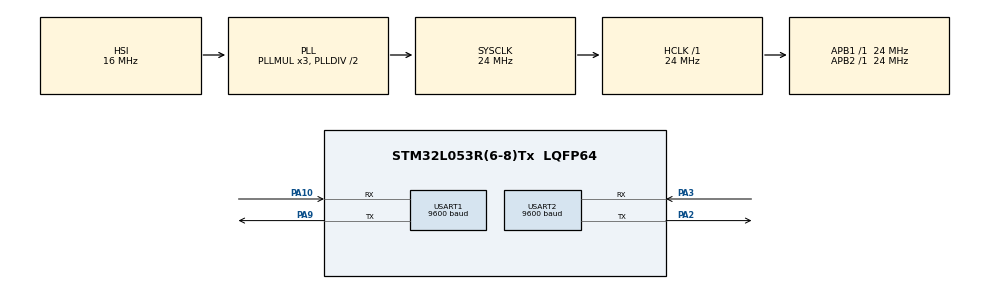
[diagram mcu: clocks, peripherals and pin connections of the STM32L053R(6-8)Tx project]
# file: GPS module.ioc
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Dma.Request0=USART1_RX
Dma.USART1_RX.0.Direction=DMA_PERIPH_TO_MEMORY
Dma.USART1_RX.0.Instance=DMA1_Channel3
Dma.USART1_RX.0.MemDataAlignment=DMA_MDATAALIGN_BYTE
Dma.USART1_RX.0.MemInc=DMA_MINC_ENABLE
Dma.USART1_RX.0.Mode=DMA_CIRCULAR
Dma.USART1_RX.0.PeriphDataAlignment=DMA_PDATAALIGN_BYTE
Dma.USART1_RX.0.PeriphInc=DMA_PINC_DISABLE
Dma.USART1_RX.0.Priority=DMA_PRIORITY_LOW
Mcu.Family=STM32L0
Mcu.Name=STM32L053R(6-8)Tx
Mcu.Package=LQFP64
NVIC.DMA1_Channel2_3_IRQn=true\:0\:0\:false\:false\:true\:false\:true\:true
PA10.Mode=Asynchronous
PA10.Signal=USART1_RX
PA13.Mode=Serial_Wire
PA13.Signal=SYS_SWDIO
PA14.Mode=Serial_Wire
PA14.Signal=SYS_SWCLK
PA2.Mode=Asynchronous
PA2.Signal=USART2_TX
PA3.Mode=Asynchronous
PA3.Signal=USART2_RX
PA9.Mode=Asynchronous
PA9.Signal=USART1_TX
PH0-OSC_IN.Mode=HSE-External-Oscillator
PH0-OSC_IN.Signal=RCC_OSC_IN
PH1-OSC_OUT.Mode=HSE-External-Oscillator
PH1-OSC_OUT.Signal=RCC_OSC_OUT
ProjectManager.HeapSize=0x200
ProjectManager.StackSize=0x400
ProjectManager.TargetToolchain=MDK-ARM V5.32
RCC.AHBFreq_Value=24000000
RCC.APB1Freq_Value=24000000
RCC.APB1TimFreq_Value=24000000
RCC.APB2Freq_Value=24000000
RCC.APB2TimFreq_Value=24000000
RCC.HCLKFreq_Value=24000000
RCC.HSE_VALUE=8000000
RCC.HSI16_VALUE=16000000
RCC.HSI48_VALUE=48000000
RCC.HSI_VALUE=16000000
RCC.LSE_VALUE=32768
RCC.MSI_VALUE=2097000
RCC.SYSCLKFreq_VALUE=24000000
RCC.SYSCLKSource=RCC_SYSCLKSOURCE_PLLCLK
RCC.VCOOutputFreq_Value=48000000
USART1.BaudRate=9600
USART1.VirtualMode-Asynchronous=VM_ASYNC
USART2.BaudRate=9600
USART2.VirtualMode-Asynchronous=VM_ASYNC
board=custom

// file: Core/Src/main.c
/* USER CODE BEGIN Header */
/**
  ******************************************************************************
  * @file           : main.c
  * @brief          : Main program body
  ******************************************************************************
  * @attention
  *
  * Copyright (c) 2022 STMicroelectronics.
  * All rights reserved.
  *
  * This software is licensed under terms that can be found in the LICENSE file
  * in the root directory of this software component.
  * If no LICENSE file comes with this software, it is provided AS-IS.
  *
  ******************************************************************************
  */
/* USER CODE END Header */
#include "main.h"

/* USER CODE BEGIN Includes */
#include <stdio.h>
#include <string.h>
#include <stdlib.h>
/* USER CODE END Includes */

UART_HandleTypeDef huart1;
UART_HandleTypeDef huart2;
DMA_HandleTypeDef hdma_usart1_rx;

/* USER CODE BEGIN PV */
uint8_t Rxdata[750];
char Txdata[750];
char GPS_Payyload[100];
uint8_t Flag_0;
uint8_t flag =0;

int Msgindex;
char *ptr;
float time, latitude,longitude;
int Hours,Min,Sec;
/* USER CODE END PV */

void SystemClock_Config(void);
static void MX_GPIO_Init(void);
static void MX_DMA_Init(void);
static void MX_USART1_UART_Init(void);
static void MX_USART2_UART_Init(void);
/* USER CODE BEGIN PFP */
void get_location(void);
void format_data(float time, float lat,float Long);
/* USER CODE END PFP */

/* USER CODE BEGIN 0 */
void get_location(void);
/* USER CODE END 0 */

int main(void)
{

  /* MCU Configuration--------------------------------------------------------*/

  /* Reset of all peripherals, Initializes the Flash interface and the Systick. */
  HAL_Init();

  /* Configure the system clock */
  SystemClock_Config();

  /* Initialize all configured peripherals */
  MX_GPIO_Init();
  MX_DMA_Init();
  MX_USART1_UART_Init();
  MX_USART2_UART_Init();
  /* USER CODE BEGIN 2 */
HAL_UART_Receive_DMA(&huart1,(uint8_t*)Rxdata,700);

  /* USER CODE END 2 */

  /* Infinite loop */
  while (1)
  {

    /* USER CODE BEGIN 3 */
		get_location();
  }
  /* USER CODE END 3 */
}

void SystemClock_Config(void)
{
  RCC_OscInitTypeDef RCC_OscInitStruct = {0};
  RCC_ClkInitTypeDef RCC_ClkInitStruct = {0};
  RCC_PeriphCLKInitTypeDef PeriphClkInit = {0};

  /** Configure the main internal regulator output voltage
  */
  __HAL_PWR_VOLTAGESCALING_CONFIG(PWR_REGULATOR_VOLTAGE_SCALE1);

  /** Initializes the RCC Oscillators according to the specified parameters
  * in the RCC_OscInitTypeDef structure.
  */
  RCC_OscInitStruct.OscillatorType = RCC_OSCILLATORTYPE_HSI;
  RCC_OscInitStruct.HSIState = RCC_HSI_ON;
  RCC_OscInitStruct.HSICalibrationValue = RCC_HSICALIBRATION_DEFAULT;
  RCC_OscInitStruct.PLL.PLLState = RCC_PLL_ON;
  RCC_OscInitStruct.PLL.PLLSource = RCC_PLLSOURCE_HSI;
  RCC_OscInitStruct.PLL.PLLMUL = RCC_PLLMUL_3;
  RCC_OscInitStruct.PLL.PLLDIV = RCC_PLLDIV_2;
  if (HAL_RCC_OscConfig(&RCC_OscInitStruct) != HAL_OK)
  {
    Error_Handler();
  }

  /** Initializes the CPU, AHB and APB buses clocks
  */
  RCC_ClkInitStruct.ClockType = RCC_CLOCKTYPE_HCLK|RCC_CLOCKTYPE_SYSCLK
                              |RCC_CLOCKTYPE_PCLK1|RCC_CLOCKTYPE_PCLK2;
  RCC_ClkInitStruct.SYSCLKSource = RCC_SYSCLKSOURCE_PLLCLK;
  RCC_ClkInitStruct.AHBCLKDivider = RCC_SYSCLK_DIV1;
  RCC_ClkInitStruct.APB1CLKDivider = RCC_HCLK_DIV1;
  RCC_ClkInitStruct.APB2CLKDivider = RCC_HCLK_DIV1;

  if (HAL_RCC_ClockConfig(&RCC_ClkInitStruct, FLASH_LATENCY_1) != HAL_OK)
  {
    Error_Handler();
  }
  PeriphClkInit.PeriphClockSelection = RCC_PERIPHCLK_USART1|RCC_PERIPHCLK_USART2;
  PeriphClkInit.Usart1ClockSelection = RCC_USART1CLKSOURCE_PCLK2;
  PeriphClkInit.Usart2ClockSelection = RCC_USART2CLKSOURCE_PCLK1;
  if (HAL_RCCEx_PeriphCLKConfig(&PeriphClkInit) != HAL_OK)
  {
    Error_Handler();
  }
}

static void MX_USART1_UART_Init(void)
{

  huart1.Instance = USART1;
  huart1.Init.BaudRate = 9600;
  huart1.Init.WordLength = UART_WORDLENGTH_8B;
  huart1.Init.StopBits = UART_STOPBITS_1;
  huart1.Init.Parity = UART_PARITY_NONE;
  huart1.Init.Mode = UART_MODE_TX_RX;
  huart1.Init.HwFlowCtl = UART_HWCONTROL_NONE;
  huart1.Init.OverSampling = UART_OVERSAMPLING_16;
  huart1.Init.OneBitSampling = UART_ONE_BIT_SAMPLE_DISABLE;
  huart1.AdvancedInit.AdvFeatureInit = UART_ADVFEATURE_NO_INIT;
  if (HAL_UART_Init(&huart1) != HAL_OK)
  {
    Error_Handler();
  }

}

static void MX_USART2_UART_Init(void)
{

  huart2.Instance = USART2;
  huart2.Init.BaudRate = 9600;
  huart2.Init.WordLength = UART_WORDLENGTH_8B;
  huart2.Init.StopBits = UART_STOPBITS_1;
  huart2.Init.Parity = UART_PARITY_NONE;
  huart2.Init.Mode = UART_MODE_TX_RX;
  huart2.Init.HwFlowCtl = UART_HWCONTROL_NONE;
  huart2.Init.OverSampling = UART_OVERSAMPLING_16;
  huart2.Init.OneBitSampling = UART_ONE_BIT_SAMPLE_DISABLE;
  huart2.AdvancedInit.AdvFeatureInit = UART_ADVFEATURE_NO_INIT;
  if (HAL_UART_Init(&huart2) != HAL_OK)
  {
    Error_Handler();
  }

}

static void MX_DMA_Init(void)
{

  /* DMA controller clock enable */
  __HAL_RCC_DMA1_CLK_ENABLE();

  /* DMA interrupt init */
  /* DMA1_Channel2_3_IRQn interrupt configuration */
  HAL_NVIC_SetPriority(DMA1_Channel2_3_IRQn, 0, 0);
  HAL_NVIC_EnableIRQ(DMA1_Channel2_3_IRQn);

}

static void MX_GPIO_Init(void)
{

  /* GPIO Ports Clock Enable */
  __HAL_RCC_GPIOH_CLK_ENABLE();
  __HAL_RCC_GPIOA_CLK_ENABLE();

}

/* USER CODE BEGIN 4 */
void HAL_UARTRxCpltCallback(UART_HandleTypeDef*huart)
 {
	flag=1;
 }
 void get_location(void)
 {
	 HAL_UART_Transmit(&huart2,(uint8_t*)Txdata,strlen(Txdata),HAL_MAX_DELAY);
//	 HAL_UART_Transmit(&huart2(unit8_t*)Data,strlen(Data),HAL_MAX_DELAY);
	 if(flag==1)
 {
		 Msgindex=0;
		 strcpy(Txdata,(char*)(Rxdata));
		 ptr=strstr(Txdata,"GPRMC");
		 if(*ptr=='G')
		 {
			 while(1)
		 {
			 GPS_Payyload[Msgindex]=*ptr;
			 Msgindex++;
			 *ptr=*(ptr+Msgindex);
			 if(*ptr=='\n')
			 {
				 GPS_Payyload[Msgindex]='\0';
				 break;
			 }
		 }
		 sscanf(GPS_Payyload,"GPRMC,%F,N,%F,%F",&time, &latitude,&longitude);
		 format_data(time,latitude,longitude);
		 HAL_Delay(1);
		 flag=0;
	 }
 }
}
void format_data(float Time,float Lat,float Long)
{
	char Data[100];
	Hours=(int)Time/10000;
	Min=(int)(Time-(Hours*10000))/100;
	Sec=(int)(Time-(Hours*10000)+(Min*100));
	sprintf(Data,"\r\nTime=%d:%d:%d Lat=%f, Long=%f", Hours+3,Min, Sec,latitude,longitude);
	HAL_UART_Transmit(&huart2,(uint8_t*)Data,strlen(Data),HAL_MAX_DELAY);
	HAL_UART_Transmit(&huart2,(uint8_t*)"\r\n\n",3,HAL_MAX_DELAY);
}

/* USER CODE END 4 */

void Error_Handler(void)
{
  __disable_irq();
  while (1)
  {
  }
}
